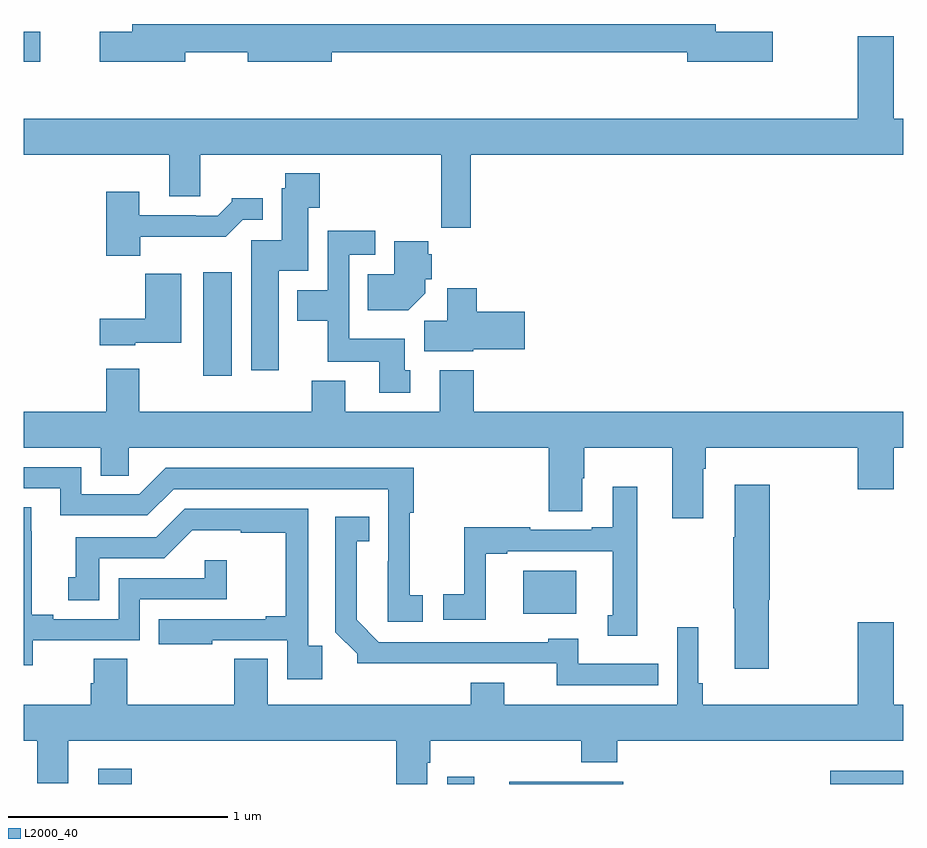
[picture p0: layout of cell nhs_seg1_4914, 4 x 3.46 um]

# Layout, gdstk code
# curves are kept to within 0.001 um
import gdstk
lib = gdstk.Library(unit=1e-6, precision=1e-09)
def R(c, l, rs):  # rectangles x0, y0, x1, y1
    for r in rs: c.add(gdstk.rectangle(r[:2], r[2:], *l))
def P(c, l, *ps):  # polygons
    for p in ps: c.add(gdstk.Polygon(p, *l))
L2000_40 = (2000, 40)

nhs_seg1_4914 = lib.new_cell('nhs_seg1_4914')
R(nhs_seg1_4914, L2000_40, [(377.339,554.199,377.492,554.269), (378.926,554.199,379.048,554.233), (379.209,554.199,379.727,554.21), (380.667,554.199,381,554.26), (379.271,554.972,379.513,555.169), (377.816,556.056,377.947,556.525), (377,557.483,377.077,557.618)])
P(nhs_seg1_4914, L2000_40, [(377.734,557.526),(378.02,557.526),(378.02,557.483),(378.4,557.483),(378.4,557.526),(380.018,557.526),(380.018,557.483),(380.407,557.483),(380.407,557.618),(380.146,557.618),(380.146,557.654),(377.495,557.654),(377.495,557.618),(377.346,557.618),(377.346,557.483),(377.734,557.483)],
  [(379.034,557.06),(381,557.06),(381,557.224),(380.956,557.224),(380.956,557.599),(380.792,557.599),(380.792,557.224),(377,557.224),(377,557.06),(377.663,557.06),(377.663,556.87),(377.803,556.87),(377.803,557.06),(378.898,557.06),(378.898,556.728),(379.034,556.728)],
  [(378.16,556.532),(378.295,556.532),(378.295,556.819),(378.347,556.819),(378.347,556.975),(378.19,556.975),(378.19,556.908),(378.173,556.908),(378.173,556.671),(378.035,556.671),(378.035,556.08),(378.16,556.08)],
  [(377.53,556.686),(377.919,556.686),(377.997,556.764),(378.088,556.764),(378.088,556.861),(377.946,556.861),(377.946,556.846),(377.882,556.782),(377.783,556.782),(377.783,556.785),(377.527,556.785),(377.527,556.891),(377.375,556.891),(377.375,556.601),(377.53,556.601)],
  [(378.757,556.08),(378.733,556.08),(378.733,556.222),(378.48,556.222),(378.48,556.605),(378.598,556.605),(378.598,556.714),(378.384,556.714),(378.384,556.444),(378.245,556.444),(378.245,556.304),(378.382,556.304),(378.382,556.118),(378.617,556.118),(378.617,555.978),(378.757,555.978)],
  [(378.826,556.43),(378.826,556.494),(378.856,556.494),(378.856,556.608),(378.839,556.608),(378.839,556.666),(378.686,556.666),(378.686,556.516),(378.565,556.516),(378.565,556.352),(378.748,556.352)],
  [(377.508,556.205),(377.716,556.205),(377.716,556.519),(377.554,556.519),(377.554,556.315),(377.346,556.315),(377.346,556.193),(377.508,556.193)],
  [(379.044,556.175),(379.279,556.175),(379.279,556.346),(379.061,556.346),(379.061,556.453),(378.926,556.453),(378.926,556.304),(378.821,556.304),(378.821,556.166),(379.044,556.166)],
  [(380.089,555.632),(380.102,555.632),(380.102,555.728),(380.792,555.728),(380.792,555.54),(380.956,555.54),(380.956,555.728),(381,555.728),(381,555.892),(379.046,555.892),(379.046,556.081),(378.893,556.081),(378.893,555.892),(378.463,555.892),(378.463,556.033),(378.311,556.033),(378.311,555.892),(377.527,555.892),(377.527,556.087),(377.375,556.087),(377.375,555.892),(377,555.892),(377,555.728),(377.351,555.728),(377.351,555.601),(377.478,555.601),(377.478,555.728),(379.388,555.728),(379.388,555.439),(379.54,555.439),(379.54,555.59),(379.548,555.59),(379.548,555.728),(379.949,555.728),(379.949,555.408),(380.089,555.408)],
  [(378.814,555.057),(378.756,555.057),(378.756,555.433),(378.773,555.433),(378.773,555.636),(377.646,555.636),(377.526,555.516),(377.262,555.516),(377.262,555.639),(377,555.639),(377,555.543),(377.166,555.543),(377.166,555.42),(377.562,555.42),(377.682,555.54),(378.657,555.54),(378.656,554.937),(378.814,554.937)],
  [(380.388,555.036),(380.393,555.036),(380.393,555.559),(380.234,555.559),(380.234,555.32),(380.227,555.32),(380.227,554.998),(380.234,554.998),(380.234,554.724),(380.388,554.724)],
  [(379.789,555.55),(379.679,555.55),(379.679,555.367),(379.583,555.367),(379.583,555.354),(379.304,555.354),(379.304,555.367),(379.003,555.367),(379.003,555.062),(378.909,555.062),(378.909,554.946),(379.102,554.946),(379.102,555.246),(379.198,555.246),(379.198,555.258),(379.679,555.258),(379.679,554.967),(379.655,554.967),(379.655,554.873),(379.789,554.873)],
  [(377.042,554.853),(377.529,554.853),(377.529,555.039),(377.924,555.039),(377.924,555.217),(377.823,555.217),(377.823,555.135),(377.433,555.135),(377.433,554.949),(377.134,554.949),(377.134,554.969),(377.038,554.969),(377.038,555.347),(377.036,555.347),(377.036,555.458),(377,555.458),(377,554.739),(377.042,554.739)],
  [(378.359,554.827),(378.294,554.827),(378.294,555.45),(377.733,555.45),(377.604,555.321),(377.237,555.321),(377.237,555.138),(377.204,555.138),(377.204,555.034),(377.344,555.034),(377.344,555.225),(377.64,555.225),(377.768,555.353),(377.987,555.353),(377.987,555.342),(378.193,555.342),(378.193,554.962),(378.101,554.962),(378.101,554.949),(377.614,554.949),(377.614,554.834),(377.857,554.834),(377.857,554.853),(378.198,554.853),(378.198,554.676),(378.359,554.676)],
  [(379.886,554.745),(379.522,554.745),(379.522,554.86),(379.386,554.86),(379.386,554.844),(378.615,554.844),(378.514,554.945),(378.514,555.302),(378.572,555.302),(378.572,555.415),(378.417,555.415),(378.417,554.89),(378.516,554.791),(378.516,554.747),(379.423,554.748),(379.423,554.649),(379.886,554.649)],
  [(378.835,554.295),(378.848,554.295),(378.848,554.396),(379.535,554.396),(379.535,554.297),(379.7,554.297),(379.7,554.396),(381,554.396),(381,554.56),(380.956,554.56),(380.956,554.935),(380.792,554.935),(380.792,554.56),(380.087,554.56),(380.087,554.656),(380.068,554.656),(380.068,554.911),(379.971,554.911),(379.971,554.56),(379.186,554.56),(379.186,554.659),(379.034,554.659),(379.034,554.56),(378.109,554.56),(378.109,554.768),(377.957,554.768),(377.957,554.56),(377.471,554.56),(377.471,554.768),(377.318,554.768),(377.318,554.658),(377.306,554.658),(377.306,554.56),(377,554.56),(377,554.396),(377.063,554.396),(377.063,554.202),(377.203,554.202),(377.203,554.396),(378.695,554.396),(378.695,554.199),(378.835,554.199)])

lib.write_gds('nhs_seg1_4914.gds')
